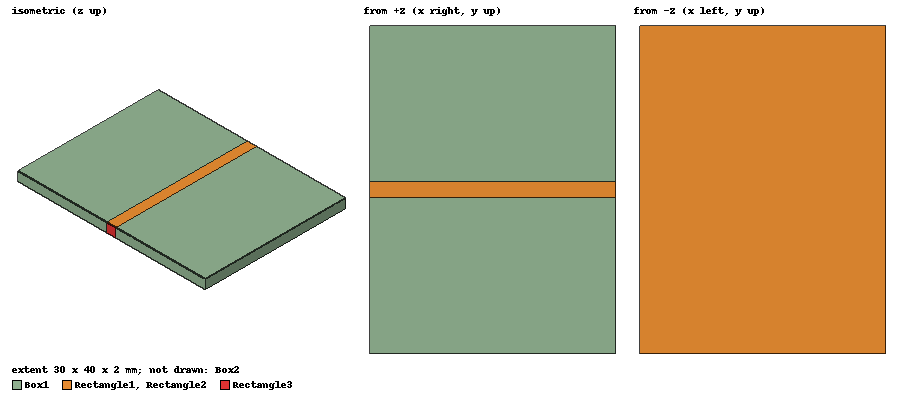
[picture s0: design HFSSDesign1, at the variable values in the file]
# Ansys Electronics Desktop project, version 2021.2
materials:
  vacuum: permittivity=1
  Rogers RO4003 (tm): permittivity=3.55 dielectric_loss_tangent=0.0027

design HFSSDesign1 (HFSS, DrivenModal, model units mm)
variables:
  a = 30mm
  b = 40mm
  c = 2mm
  q = 2mm
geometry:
  Box1 [Rogers RO4003 (tm)] = box(corner=(-a/2, -b/2, 0), size=(a, b, c))
  Rectangle1 = rectangle(corner=(-15mm, -20mm, 0mm), x_size=30mm, y_size=40mm)
  Rectangle2 = rectangle(corner=(-a/2, -q/2, 2mm), x_size=a, y_size=q)
  Rectangle3 = rectangle(corner=(15mm, -q/2, 2mm), y_size=q, z_size=-2mm)
  Rectangle4 = rectangle(corner=(-15mm, q/2, 2mm), y_size=-q, z_size=-2mm)
  Box2 [vacuum] = box(corner=(-26mm, -22mm, -3mm), size=(52mm, 46mm, 6mm))
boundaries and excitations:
  PerfE1: Perfect E Objects=[Rectangle2, Rectangle1]
  Rad1: Radiation Objects=Box2
  1: Lumped Port Objects=Rectangle4 Modes{Mode1{IntLine{middle of Rectangle4.edge(z opposite corner) -> middle of Rectangle4.edge(z at corner)} CharImp=Zpi RenormImp=50ohm}} Impedance=50ohm
  2: Lumped Port Objects=Rectangle3 Modes{Mode1{IntLine{middle of Rectangle3.edge(z opposite corner) -> middle of Rectangle3.edge(z at corner)} CharImp=Zpi RenormImp=50ohm}} Impedance=50ohm
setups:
  Setup1: HfssDriven MultipleAdaptiveFreqsSetup{Low=10GHz High=12GHz} MaxDeltaS=0.02 MaximumPasses=20 MinimumPasses=1 MinimumConvergedPasses=1 PercentRefinement=30 BasisOrder=1 PortAccuracy=2
    sweep Sweep: 10GHz to 12GHz, 401 points; Type=Fast SaveFields
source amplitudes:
  1:1: 1W 0deg
  2:1: 0W 0deg
